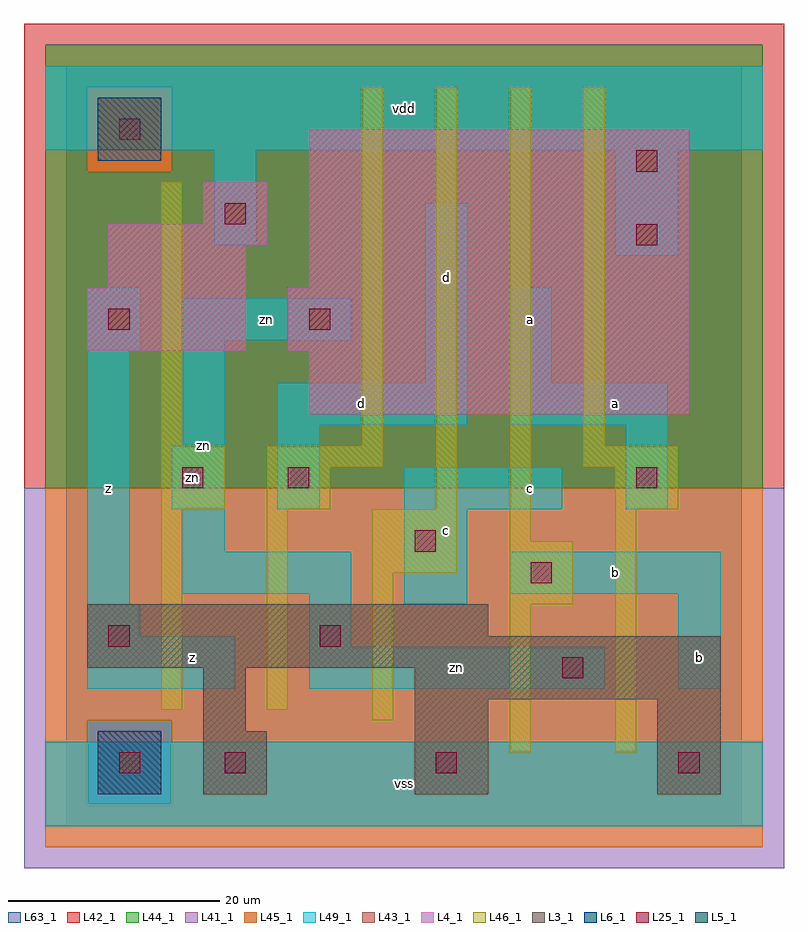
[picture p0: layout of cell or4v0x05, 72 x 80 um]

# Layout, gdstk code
import gdstk
lib = gdstk.Library(unit=1e-6, precision=1e-09)
def R(c, l, rs):  # rectangles x0, y0, x1, y1
    for r in rs: c.add(gdstk.rectangle(r[:2], r[2:], *l))
L3_1 = (3, 1)
L4_1 = (4, 1)
L5_1 = (5, 1)
L6_1 = (6, 1)
L25_1 = (25, 1)
L41_1 = (41, 1)
L42_1 = (42, 1)
L43_1 = (43, 1)
L44_1 = (44, 1)
L45_1 = (45, 1)
L46_1 = (46, 1)
L49_1 = (49, 1)
L63_1 = (63, 1)

or4v0x05 = lib.new_cell('or4v0x05')
R(or4v0x05, L3_1, [(13,3,19,9), (33,3,40,12), (56,3,62,12), (13,9,17,15), (33,12,62,15), (2,15,62,18), (2,18,40,21)])
R(or4v0x05, L4_1, [(23,39,59,45), (2,45,17,51), (21,45,59,51), (4,51,17,55), (23,51,59,66), (4,55,19,57), (13,57,19,61)])
R(or4v0x05, L5_1, [(3,63,9,69)])
R(or4v0x05, L6_1, [(3,3,9,9), (3,3,9,9)])
R(or4v0x05, L25_1, [(5,5,7,7), (15,5,17,7), (35,5,37,7), (58,5,60,7), (47,14,49,16), (4,17,6,19), (24,17,26,19), (44,23,46,25), (33,26,35,28), (11,32,13,34), (21,32,23,34), (54,32,56,34), (4,47,6,49), (23,47,25,49), (54,55,56,57), (15,57,17,59), (54,62,56,64), (5,65,7,67)])
R(or4v0x05, L41_1, [(-4,-4,68,32)])
R(or4v0x05, L42_1, [(-4,32,68,76)])
R(or4v0x05, L43_1, [(3,3,9,9), (13,3,19,9), (33,3,40,12), (56,3,62,12), (13,9,17,15), (33,12,62,15), (2,15,62,18), (2,18,40,21), (23,39,59,45), (2,45,17,51), (21,45,59,51), (4,51,17,55), (23,51,59,66), (4,55,19,57), (13,57,19,61), (3,63,9,69)])
R(or4v0x05, L44_1, [(2,2,10,10), (-2,32,66,62), (-2,62,2,70), (10,62,66,70), (-2,70,66,74)])
R(or4v0x05, L45_1, [(-2,-2,66,2), (-2,2,2,10), (10,2,66,10), (-2,10,66,32), (2,62,10,70)])
R(or4v0x05, L46_1, [(42,7,44,21), (52,7,54,30), (29,10,31,24), (9,11,11,30), (19,11,21,30), (42,21,48,27), (29,24,37,30), (42,27,44,70), (9,30,15,36), (19,30,25,34), (35,30,37,70), (52,30,58,34), (19,34,30,36), (49,34,58,36), (9,36,11,61), (28,36,30,70), (49,36,51,70)])
R(or4v0x05, L49_1, [(-2,0,66,8), (2,13,16,18), (23,13,51,17), (58,13,62,22), (23,17,27,22), (2,18,7,21), (2,21,6,45), (32,21,38,30), (11,22,27,26), (42,22,62,26), (11,26,15,30), (10,30,15,36), (20,30,24,38), (32,30,47,34), (53,30,57,38), (11,36,15,46), (20,38,38,42), (42,38,57,42), (34,42,38,59), (42,42,46,51), (2,45,7,51), (11,46,27,50), (52,54,58,64), (14,55,18,64), (-2,64,66,72)])
R(or4v0x05, L63_1, [(0,0,64,72)])
or4v0x05.add(gdstk.Label('zn', (12,33), layer=49, texttype=1))
or4v0x05.add(gdstk.Label('z', (12,16), layer=49, texttype=1))
or4v0x05.add(gdstk.Label('z', (4,32), layer=49, texttype=1))
or4v0x05.add(gdstk.Label('d', (28,40), layer=49, texttype=1))
or4v0x05.add(gdstk.Label('zn', (13,36), layer=49, texttype=1))
or4v0x05.add(gdstk.Label('zn', (19,48), layer=49, texttype=1))
or4v0x05.add(gdstk.Label('vss', (32,4), layer=49, texttype=1))
or4v0x05.add(gdstk.Label('c', (36,28), layer=49, texttype=1))
or4v0x05.add(gdstk.Label('c', (44,32), layer=49, texttype=1))
or4v0x05.add(gdstk.Label('d', (36,52), layer=49, texttype=1))
or4v0x05.add(gdstk.Label('a', (44,48), layer=49, texttype=1))
or4v0x05.add(gdstk.Label('vdd', (32,68), layer=49, texttype=1))
or4v0x05.add(gdstk.Label('zn', (37,15), layer=49, texttype=1))
or4v0x05.add(gdstk.Label('b', (60,16), layer=49, texttype=1))
or4v0x05.add(gdstk.Label('b', (52,24), layer=49, texttype=1))
or4v0x05.add(gdstk.Label('a', (52,40), layer=49, texttype=1))

lib.write_gds('or4v0x05.gds')
